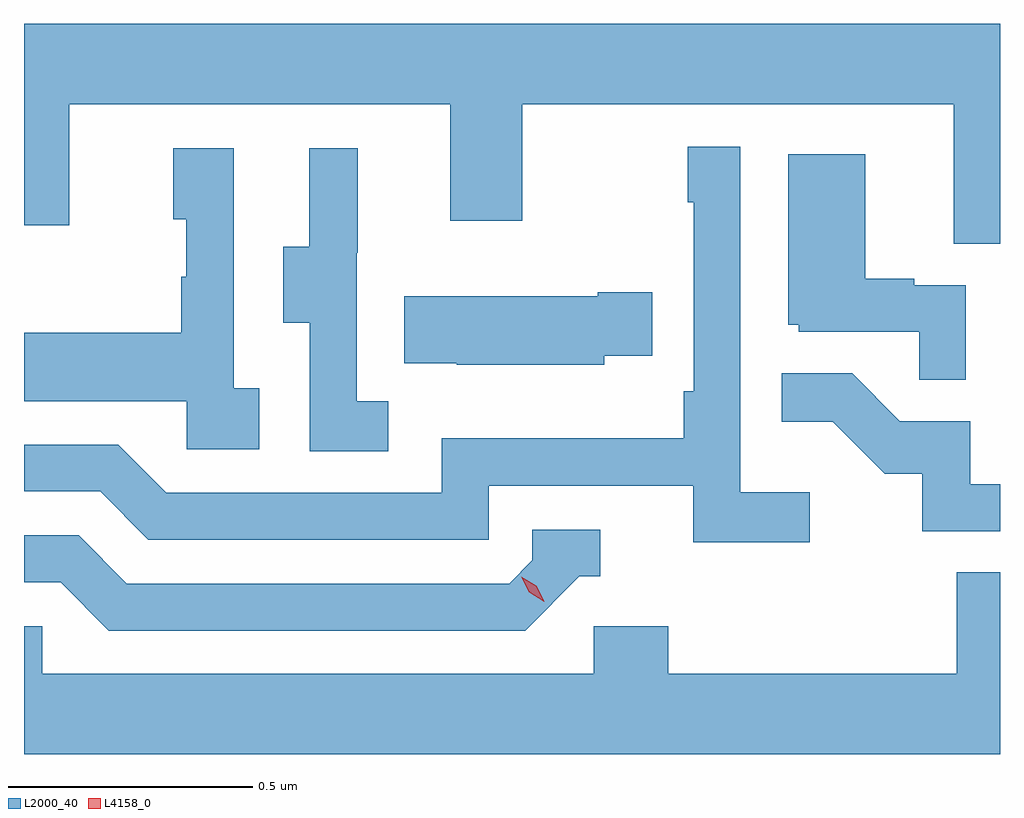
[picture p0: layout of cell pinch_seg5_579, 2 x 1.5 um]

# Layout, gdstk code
import gdstk
lib = gdstk.Library(unit=1e-6, precision=1e-09)
def P(c, l, *ps):  # polygons
    for p in ps: c.add(gdstk.Polygon(p, *l))
L2000_40 = (2000, 40)
L4158_0 = (4158, 0)

pinch_seg5_579 = lib.new_cell('pinch_seg5_579')
P(pinch_seg5_579, L2000_40, [(1118.602,867.58),(1116.602,867.58),(1116.602,867.168),(1116.695,867.168),(1116.695,867.416),(1117.475,867.416),(1117.475,867.177),(1117.623,867.177),(1117.623,867.416),(1118.507,867.416),(1118.507,867.13),(1118.602,867.13)],
  [(1118.212,866.62),(1118.07,866.62),(1118.07,867.328),(1117.962,867.328),(1117.962,867.215),(1117.974,867.215),(1117.974,866.827),(1117.954,866.827),(1117.954,866.731),(1117.458,866.731),(1117.458,866.619),(1116.894,866.619),(1116.795,866.718),(1116.602,866.718),(1116.602,866.622),(1116.758,866.622),(1116.857,866.523),(1117.554,866.523),(1117.554,866.634),(1117.973,866.634),(1117.973,866.518),(1118.212,866.518)],
  [(1117.348,866.807),(1117.284,866.807),(1117.284,867.111),(1117.286,867.111),(1117.286,867.325),(1117.187,867.325),(1117.187,867.123),(1117.133,867.123),(1117.133,866.968),(1117.188,866.968),(1117.188,866.704),(1117.348,866.704)],
  [(1117.084,866.834),(1117.032,866.834),(1117.032,867.325),(1116.908,867.325),(1116.908,867.18),(1116.934,867.18),(1116.934,867.062),(1116.924,867.062),(1116.924,866.947),(1116.602,866.947),(1116.602,866.807),(1116.936,866.807),(1116.936,866.709),(1117.084,866.709)],
  [(1118.532,867.045),(1118.426,867.045),(1118.426,867.058),(1118.326,867.058),(1118.326,867.313),(1118.168,867.313),(1118.168,866.964),(1118.19,866.964),(1118.19,866.949),(1118.437,866.949),(1118.437,866.851),(1118.532,866.851)],
  [(1117.791,866.9),(1117.889,866.9),(1117.889,867.03),(1117.778,867.03),(1117.778,867.022),(1117.381,867.022),(1117.381,866.885),(1117.489,866.885),(1117.489,866.882),(1117.791,866.882)],
  [(1118.602,866.637),(1118.541,866.637),(1118.541,866.766),(1118.397,866.766),(1118.299,866.864),(1118.155,866.864),(1118.155,866.765),(1118.259,866.765),(1118.366,866.658),(1118.443,866.658),(1118.443,866.541),(1118.602,866.541)],
  [(1117.74,866.448),(1117.783,866.448),(1117.783,866.544),(1117.644,866.544),(1117.644,866.481),(1117.596,866.433),(1116.813,866.433),(1116.714,866.532),(1116.602,866.532),(1116.602,866.436),(1116.677,866.436),(1116.776,866.337),(1117.629,866.337)],
  [(1118.602,866.456),(1118.513,866.456),(1118.513,866.248),(1117.922,866.248),(1117.922,866.346),(1117.77,866.346),(1117.77,866.248),(1116.639,866.248),(1116.639,866.346),(1116.602,866.346),(1116.602,866.084),(1118.602,866.084)])
P(pinch_seg5_579, L4158_0, [(1117.668,866.396),(1117.637,866.415),(1117.621,866.447),(1117.621,866.447),(1117.621,866.447),(1117.652,866.429),(1117.668,866.397),(1117.668,866.396)])

lib.write_gds('pinch_seg5_579.gds')
